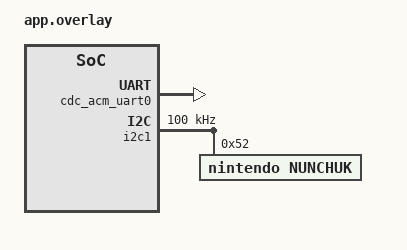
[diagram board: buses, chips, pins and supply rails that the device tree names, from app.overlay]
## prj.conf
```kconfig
CONFIG_GPIO=y
CONFIG_DISPLAY=y
CONFIG_I2C=y

CONFIG_USB_DEVICE_STACK=y
CONFIG_USB_DEVICE_PRODUCT="Zephyr USB console sample"
CONFIG_USB_DEVICE_PID=0x0004
CONFIG_USB_DEVICE_INITIALIZE_AT_BOOT=y

CONFIG_SERIAL=y
CONFIG_CONSOLE=y
CONFIG_UART_CONSOLE=y
CONFIG_UART_LINE_CTRL=y

CONFIG_CONSOLE_SUBSYS=y
CONFIG_CONSOLE_GETCHAR=y

CONFIG_LOG=y
CONFIG_LOG_MODE_MINIMAL=y

CONFIG_INPUT=y
CONFIG_INPUT_EVENT_DUMP=y

CONFIG_BOOT_BANNER=y
CONFIG_INPUT_INIT_PRIORITY=99

CONFIG_INPUT_LOG_LEVEL_DBG=y

CONFIG_DISPLAY=y
CONFIG_TIMER_RANDOM_GENERATOR=y
```

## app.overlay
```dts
/ {
	chosen {
		zephyr,console = &cdc_acm_uart0;
	};
};

&zephyr_udc0 {
	cdc_acm_uart0: cdc_acm_uart0 {
		compatible = "zephyr,cdc-acm-uart";
	};
};







&i2c1 {

	nunchuk: nunchuk@52 {
		reg = <0x52>;
		compatible= "nintendo,nunchuk";
		polling-interval = <1>;
	};

	status = "okay";
	clock-frequency = <I2C_BITRATE_STANDARD>;
};


/ {
	aliases {
		nunchuk = &nunchuk;
	};
};
```

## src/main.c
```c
/*
 * Copyright (c) 2016 Intel Corporation
 *
 * SPDX-License-Identifier: Apache-2.0
 */

#include <stdio.h>
#include <zephyr/kernel.h>
#include <zephyr/drivers/gpio.h>
#include <zephyr/drivers/display.h>
#include <zephyr/drivers/i2c.h>
#include <zephyr/input/input.h>
#include <stdlib.h>


/* 1000 msec = 1 sec */
#define SLEEP_TIME_MS   1000

/* The devicetree node identifier for the "led0" alias. */

#define NUNCHUK_NODE DT_ALIAS(nunchuk)

#define LED0_NODE DT_ALIAS(led0)
static const struct gpio_dt_spec led = GPIO_DT_SPEC_GET(LED0_NODE, gpios);




#define WHITE 65535

#define TILE 10
#define SIZE ((240 / TILE) * (240 / TILE))

struct coord {
	char x;
	char y;
};

struct queue {
	struct coord tab[SIZE];
	int front;
	int back;
};


uint16_t screen[240*240] = {WHITE};

struct queue snake = {.front=0,.back=0};

const int speed = 4;

int dir_x = TILE;
int dir_y = 0;


uint16_t color(int blue, int green, int red) {
	return (blue & 31) | ((green & 63) << 5) | ((red & 31) << 11);
}

void set_buffer(uint16_t *colors) {
	for (int i = 0;i<240;i++) {
		for (int j=0;j<240;j++){
			colors[i*240 + j] = color(31,63,31);
		}
	}
}


void draw_rect(uint16_t *screen,int x, int y, int height, int width, uint16_t color) {
	for (int i=0;i<height;i++) {
		for (int j=0;j<width;j++) {
			screen[y+j + (x+i) * 240] = color;
		}
	}
}

void handler(struct input_event *evt, void *user_data) {
	if (evt->type != INPUT_EV_ABS) {
		return;
	}

	int coef = 0;
	if (evt->value < 10) {
		coef = -1;
	} else if (evt->value > 240) {
		coef = 1;
	}

	if (coef) {
		dir_x = coef * evt->code * TILE * -1;
		dir_y = coef * !evt->code * TILE;
	}

	printf("%d %d\n",dir_x,dir_y);
}


void push(struct queue *q, char x, char y) {
	q->tab[q->front].x = x;
	q->tab[q->front].y = y;
	q->front = (q->front + 1) % SIZE;
}

struct coord get(struct queue *q) {
	if (q->front == q->back) {
		printf("Error: queue empty\n");
		struct coord res = {.x = 0, .y = 0};
		return res;
	}
	struct coord ret = q->tab[q->back];
	q->back = (q->back + 1) % SIZE;
	return ret;
}

int check_loose(struct queue *snake, int x, int y) {
	if (x > (240 - TILE) || y > (240 - TILE) || x < 0 || y < 0) {
		return 1;
	}
	if (snake->front > snake->back) {
		for (int i=snake->back; i < snake->front;i++) {
			if (x == snake->tab[i].x && y == snake->tab[i].y) {
				return 1;
			}
		}
	} else {
		for (int i=snake->back; i<SIZE;i++) {
			if (x == snake->tab[i].x && y == snake->tab[i].y) {
				return 1;
			}
		}
		for (int i=0; i < snake->front; i++) {
			if (x == snake->tab[i].x && y == snake->tab[i].y) {
				return 1;
			}
		}
	}
	return 0;
}

void play(const struct device *display_dev) {
	struct display_buffer_descriptor buffer_d;

	buffer_d.buf_size = 240 * 240;
	buffer_d.width = 240;
	buffer_d.height = 240;
	buffer_d.pitch = 240;

	printf("%d\n",screen[150]);

	set_buffer(screen);

	printf("%d\n",screen[150]);

	display_blanking_off(display_dev);

	
	int target_x = rand()/(RAND_MAX / (240 / TILE)) * TILE;
	int target_y = rand()/(RAND_MAX / (240 / TILE)) * TILE;
	printf("target: %d %d\n",target_x, target_y);

	draw_rect(screen,target_x,target_y,TILE,TILE,color(0,0,31));


	display_write(display_dev, 0, 0, &buffer_d, &screen);

	snake.front = 0;
	snake.back = 0;


	int x = (100 / TILE) * TILE;
	int y = (100 / TILE) * TILE;

	push(&snake, x, y);
	int score = 0;


	int speed = 200;

	printf("start\n");
	while (1) {


		x += dir_x;
		y += dir_y;
		if (check_loose(&snake, x,y)) {
			printf("GAME OVER\n");
			printf("SCORE: %d\n",score);
			break;
		}
		push(&snake, x, y);

		draw_rect(screen,x,y,TILE,TILE,0);


		printf("%d %d\n",x,y);

		if (x != target_x || y != target_y) {
			struct coord res = get(&snake);
			draw_rect(screen, res.x,res.y,TILE,TILE,WHITE);
		} else {
			score++;
			target_x = rand()/(RAND_MAX / (240 / TILE)) * TILE;
			target_y = rand()/(RAND_MAX / (240 / TILE)) * TILE;

			printf("new target: %d %d\n",target_x,target_y);

			if (speed > 100) {
				speed -= 10;
			} else if (speed > 50) {
				speed -= 5;
			} else if (speed > 20) {
				speed -= 1;
			}
		}

		draw_rect(screen,target_x,target_y,TILE,TILE,color(0,0,31));




		display_write(display_dev, 0, 0, &buffer_d, &screen);


		k_msleep(speed);
		gpio_pin_toggle_dt(&led);
	}

}


#ifdef CONFIG_INPUT
int main(void) {
	gpio_pin_configure_dt(&led, GPIO_OUTPUT_ACTIVE);

	const struct device *display_dev;



	display_dev = DEVICE_DT_GET(DT_CHOSEN(zephyr_display));

	if (!device_is_ready(display_dev)) {
		printf("display not ready\n");
		return 1;
	}

	srand(0);
	INPUT_CALLBACK_DEFINE(NULL,handler,NULL);

	while (1) {
		play(display_dev);
		k_msleep(1000);
	}
}
#else


void worker(struct k_work *work) {
	printf("test worker\n");
	struct k_work_delayable *dwork = k_work_delayable_from_work(work);
	k_work_reschedule(dwork, K_MSEC(1000));
}

int main(void)
{
// 	const struct device *display_dev;

// 	display_dev = DEVICE_DT_GET(DT_CHOSEN(zephyr_display));

// 	if (!device_is_ready(display_dev)) {
// 		printf("display not ready\n");
// 		return 1;
// 	}

	// const struct device *nunchuk = DEVICE_DT_GET(NUNCHUK_NODE);

	// printf("%s\n",nunchuk->name);

	struct i2c_dt_spec i2c = I2C_DT_SPEC_GET(NUNCHUK_NODE);

	const struct device *bus = DEVICE_DT_GET(DT_NODELABEL(i2c1));

	printf("address: %d\n",i2c.addr);

	uint8_t data[4] = {0xf0,0x55,0xfb,0x00};
	// i2c_write_dt(&i2c,data,3);
	int ret = i2c_write_dt(&i2c,(uint8_t *)&data,2);
	if (ret < 0) printf("Error\n");
	k_msleep(1);
	ret = i2c_write_dt(&i2c,&data[2],2);
	if (ret < 0) printf("Error 2\n");
	k_msleep(1);

	// struct k_work_delayable work;
	// k_work_init_delayable(&work,worker);

	// ret = k_work_reschedule(&work, K_MSEC(1000));



	uint8_t buf[6] = {0,1,2,3,4,5};
	while (1) {
		uint8_t a = 0;
		// i2c_write_dt(&i2c,&a,1);
		// k_msleep(10);
		// ret = i2c_read_dt(&i2c,&buf,6);
		if (ret < 0) printf("Error 3\n");
		// for (int i=0;i<6;i++) {
		// 	printf("%d ",buf[i]);
		// }
		// printf("\n");

		printf("Z : %d\n",buf[5] & 1);
		printf("C : %d\n",buf[5] & 2);
		printf("X joystick: %d\n",buf[0]);
		printf("Y joystick: %d\n",buf[1]);

		k_msleep(53);
	}



// 	// struct display_buffer_descriptor buffer_d;

// 	// buffer_d.buf_size = 256 * 256;
// 	// buffer_d.width = 256;
// 	// buffer_d.height = 256;
// 	// buffer_d.pitch = 256;

// 	// set_buffer(colors);

// 	// display_blanking_off(display_dev);

// 	// display_write(display_dev, 0, 0, &buffer_d, &colors);



	return 0;
}

#endif
```
